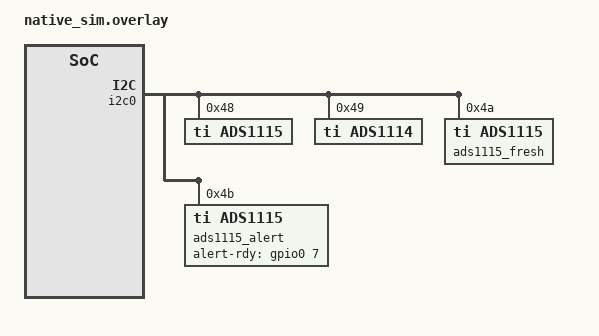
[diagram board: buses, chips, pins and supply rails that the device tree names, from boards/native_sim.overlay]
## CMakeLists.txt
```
# SPDX-FileCopyrightText: Copyright The Zephyr Project Contributors
# SPDX-License-Identifier: Apache-2.0

cmake_minimum_required(VERSION 3.28.0)

find_package(Zephyr REQUIRED HINTS $ENV{ZEPHYR_BASE})
project(adc_ads1x1x)

target_sources(app PRIVATE
  src/main.c
  src/ads1x1x_emul.c
)
```

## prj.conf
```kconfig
# SPDX-FileCopyrightText: Copyright The Zephyr Project Contributors
# SPDX-License-Identifier: Apache-2.0

CONFIG_ZTEST=y
CONFIG_EMUL=y
CONFIG_GPIO=y
CONFIG_ADC=y
CONFIG_ADC_LOG_LEVEL_WRN=y
CONFIG_I2C_LOG_LEVEL_WRN=y
```

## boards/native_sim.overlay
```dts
/*
 * SPDX-FileCopyrightText: Copyright The Zephyr Project Contributors
 * SPDX-License-Identifier: Apache-2.0
 */

/*
 * Simulated ADS1x1x chips on the emulated I2C bus of native_sim. The chip that is used
 * for the tests of an unconfigured channel is never configured by any other test.
 */
&i2c0 {
	ads1115: ads1115@48 {
		compatible = "ti,ads1115";
		reg = <0x48>;
		#io-channel-cells = <1>;
	};

	ads1114: ads1114@49 {
		compatible = "ti,ads1114";
		reg = <0x49>;
		#io-channel-cells = <1>;
	};

	ads1115_fresh: ads1115@4a {
		compatible = "ti,ads1115";
		reg = <0x4a>;
		#io-channel-cells = <1>;
	};

	/* A chip with its ALERT/RDY pin connected: it reports a finished conversion on that pin. */
	ads1115_alert: ads1115@4b {
		compatible = "ti,ads1115";
		reg = <0x4b>;
		alert-rdy-gpios = <&gpio0 7 0>;
		#io-channel-cells = <1>;
	};
};
```

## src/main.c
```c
/*
 * SPDX-FileCopyrightText: Copyright The Zephyr Project Contributors
 *
 * SPDX-License-Identifier: Apache-2.0
 */

/*
 * Tests of the ADS1x1x driver with a simulated chip: reading several channels in one sequence,
 * and that a driver with one channel still behaves as before.
 */

#include <errno.h>

#include <zephyr/devicetree.h>
#include <zephyr/drivers/adc.h>
#include <zephyr/drivers/emul.h>
#include <zephyr/drivers/i2c.h>
#include <zephyr/sys/byteorder.h>
#include <zephyr/ztest.h>

#include "ads1x1x_emul.h"

#define ADS1115_NODE       DT_NODELABEL(ads1115)
#define ADS1115_FRESH_NODE DT_NODELABEL(ads1115_fresh)
#define ADS1115_ALERT_NODE DT_NODELABEL(ads1115_alert)
#define ADS1114_NODE       DT_NODELABEL(ads1114)

/* The data rate setting 7 (860 readings per second) keeps the tests short. */
#define FAST ADC_ACQ_TIME(ADC_ACQ_TIME_TICKS, 7)
/* The setting 4 (128 readings per second) is the default. */
#define SLOW ADC_ACQ_TIME_DEFAULT

/* Registers of the chip. */
#define REG_CONVERSION 0
#define REG_CONFIG     1

/* Bits of the configuration register, to check what the driver wrote. */
#define CFG_OS           BIT(15)
#define CFG_MUX(c)       (((c) >> 12) & 0x7)
#define CFG_PGA(c)       (((c) >> 9) & 0x7)
#define CFG_DR(c)        (((c) >> 5) & 0x7)
#define MUX_DIFF_0_3     1
#define MUX_SINGLE(n)    (4 + (n))
#define PGA_2048         2
/* Start a single conversion of input 0 against GND at +-2.048 V full scale. */
#define START_INPUT_0    (CFG_OS | (MUX_SINGLE(0) << 12) | (PGA_2048 << 9) | BIT(8))
#define PGA_1024         3
#define SINGLE_ENDED_RES 15
#define DIFFERENTIAL_RES 16

static const struct device *const adc = DEVICE_DT_GET(ADS1115_NODE);
static const struct device *const adc_fresh = DEVICE_DT_GET(ADS1115_FRESH_NODE);
static const struct device *const adc_alert = DEVICE_DT_GET(ADS1115_ALERT_NODE);
static const struct device *const adc_1114 = DEVICE_DT_GET(ADS1114_NODE);
static const struct emul *const emul = EMUL_DT_GET(ADS1115_NODE);
static struct ads1x1x_emul_data *state;

static int16_t samples[16];

static void before(void *fixture)
{
	ARG_UNUSED(fixture);

	state = emul->data;
	ads1x1x_emul_reset(emul);
	memset(samples, 0, sizeof(samples));
}

ZTEST_SUITE(ads1x1x, NULL, NULL, before, NULL, NULL);

/* Make a channel read one input against GND. */
static int setup_single(const struct device *dev, uint8_t channel, uint8_t input,
			enum adc_gain gain, uint16_t acquisition_time)
{
	const struct adc_channel_cfg cfg = {
		.gain = gain,
		.reference = ADC_REF_INTERNAL,
		.acquisition_time = acquisition_time,
		.channel_id = channel,
		.differential = false,
		.input_positive = input,
	};

	return adc_channel_setup(dev, &cfg);
}

/* Make a channel read input_positive minus input_negative. */
static int setup_differential(const struct device *dev, uint8_t channel, uint8_t positive,
			      uint8_t negative, enum adc_gain gain)
{
	const struct adc_channel_cfg cfg = {
		.gain = gain,
		.reference = ADC_REF_INTERNAL,
		.acquisition_time = FAST,
		.channel_id = channel,
		.differential = true,
		.input_positive = positive,
		.input_negative = negative,
	};

	return adc_channel_setup(dev, &cfg);
}

/* Read the channels of a mask in one go. */
static int read_channels(const struct device *dev, uint32_t mask, uint8_t resolution, void *buffer,
			 size_t buffer_size, uint8_t extra_samplings)
{
	const struct adc_sequence_options options = {
		.extra_samplings = extra_samplings,
	};
	const struct adc_sequence sequence = {
		.options = extra_samplings ? &options : NULL,
		.channels = mask,
		.buffer = buffer,
		.buffer_size = buffer_size,
		.resolution = resolution,
	};

	return adc_read(dev, &sequence);
}

static void set_input(uint8_t input, int32_t microvolts)
{
	state->input_uv[input] = microvolts;
}

/* Talk to a chip without the driver. */
static uint16_t chip_read_from(uint16_t addr, uint8_t reg)
{
	uint8_t buf[2];

	zassert_ok(i2c_write_read(DEVICE_DT_GET(DT_BUS(ADS1115_NODE)), addr, &reg, sizeof(reg), buf,
				  sizeof(buf)));

	return sys_get_be16(buf);
}

static void chip_write_to(uint16_t addr, uint8_t reg, uint16_t value)
{
	uint8_t buf[3] = {reg};

	sys_put_be16(value, &buf[1]);
	zassert_ok(i2c_write(DEVICE_DT_GET(DT_BUS(ADS1115_NODE)), buf, sizeof(buf), addr));
}

static uint16_t chip_read(uint8_t reg)
{
	return chip_read_from(DT_REG_ADDR(ADS1115_NODE), reg);
}

static void chip_write(uint8_t reg, uint16_t value)
{
	chip_write_to(DT_REG_ADDR(ADS1115_NODE), reg, value);
}

ZTEST(ads1x1x, test_one_channel_reads_its_input)
{
	/* 1.65 V at +-2.048 V full scale: one count is 62.5 uV, so 26400 counts. */
	set_input(0, 1650000);

	zassert_ok(setup_single(adc, 0, 0, ADC_GAIN_1, FAST));
	zassert_ok(read_channels(adc, BIT(0), SINGLE_ENDED_RES, samples, sizeof(samples[0]), 0));

	zassert_equal(samples[0], 26400);
	zassert_equal(state->conversions, 1);
}

ZTEST(ads1x1x, test_channel_zero_can_read_any_input)
{
	set_input(2, 1000000);

	zassert_ok(setup_single(adc, 0, 2, ADC_GAIN_1, FAST));
	zassert_ok(read_channels(adc, BIT(0), SINGLE_ENDED_RES, samples, sizeof(samples[0]), 0));

	zassert_equal(samples[0], 16000);
}

ZTEST(ads1x1x, test_channel_zero_can_be_pointed_at_another_input_before_every_read)
{
	/*
	 * Before the driver had several channels, two inputs could be read like this: set up
	 * channel 0 for one input and read it, then set it up for the other input and read it.
	 */
	set_input(0, 1650000);
	set_input(1, 1600000);

	for (int i = 0; i < 3; i++) {
		zassert_ok(setup_single(adc, 0, 1, ADC_GAIN_1, SLOW));
		zassert_ok(read_channels(adc, BIT(0), SINGLE_ENDED_RES, samples, sizeof(samples[0]),
					 0));
		zassert_equal(samples[0], 25600);

		zassert_ok(setup_single(adc, 0, 0, ADC_GAIN_1, SLOW));
		zassert_ok(read_channels(adc, BIT(0), SINGLE_ENDED_RES, samples, sizeof(samples[0]),
					 0));
		zassert_equal(samples[0], 26400);
	}
}

ZTEST(ads1x1x, test_setting_up_a_channel_does_not_touch_the_chip)
{
	size_t transfers = state->transfers;

	zassert_ok(setup_single(adc, 0, 0, ADC_GAIN_1, FAST));
	zassert_ok(setup_single(adc, 1, 1, ADC_GAIN_2, SLOW));
	zassert_ok(setup_differential(adc, 2, 0, 3, ADC_GAIN_8));

	/* The settings are kept, and written when a conversion starts. */
	zassert_equal(state->transfers, transfers);
	zassert_equal(state->config_writes, 0);
}

static K_THREAD_STACK_DEFINE(reader_stack, 1024);
static struct k_thread reader_thread;
static volatile int reader_result;

static void reader_entry(void *p1, void *p2, void *p3)
{
	ARG_UNUSED(p1);
	ARG_UNUSED(p2);
	ARG_UNUSED(p3);

	reader_result =
		read_channels(adc, BIT(0), SINGLE_ENDED_RES, samples, sizeof(samples[0]), 0);
}

ZTEST(ads1x1x, test_setting_up_a_channel_waits_for_a_conversion_in_progress)
{
	int64_t waited;

	set_input(0, 1650000);

	/* At 128 readings per second a conversion takes about 8 ms. */
	zassert_ok(setup_single(adc, 0, 0, ADC_GAIN_1, SLOW));
	state->busy_polls = 1;
	reader_result = -1;

	k_thread_create(&reader_thread, reader_stack, K_THREAD_STACK_SIZEOF(reader_stack),
			reader_entry, NULL, NULL, NULL, K_PRIO_PREEMPT(5), 0, K_NO_WAIT);

	/* The reader has started its conversion, and the chip is still busy with it. */
	k_msleep(2);
	zassert_true(state->converting, "the conversion should still be running");

	waited = k_uptime_get();
	zassert_ok(setup_single(adc, 1, 1, ADC_GAIN_1, FAST));
	waited = k_uptime_get() - waited;

	/* Setting up another channel has to wait until the conversion is over. */
	zassert_false(state->converting, "the setup returned in the middle of the conversion");
	zassert_true(waited >= 3, "the setup did not wait (%lld ms)", (long long)waited);
	zassert_equal(state->writes_while_converting, 0);

	k_thread_join(&reader_thread, K_FOREVER);
	zassert_ok(reader_result);
	zassert_equal(samples[0], 26400);
}

ZTEST(ads1x1x, test_two_channels_are_read_in_one_sequence)
{
	set_input(0, 1650000);
	set_input(1, 1600000);

	zassert_ok(setup_single(adc, 0, 0, ADC_GAIN_1, FAST));
	zassert_ok(setup_single(adc, 1, 1, ADC_GAIN_1, FAST));
	state->config_writes = 0;

	zassert_ok(read_channels(adc, BIT(0) | BIT(1), SINGLE_ENDED_RES, samples,
				 2 * sizeof(samples[0]), 0));

	zassert_equal(samples[0], 26400);
	zassert_equal(samples[1], 25600);
	zassert_equal(state->conversions, 2);

	/* One conversion for each channel, each with its own input selected. */
	zassert_equal(state->config_writes, 2);
	zassert_true(state->config_log[0] & CFG_OS);
	zassert_equal(CFG_MUX(state->config_log[0]), MUX_SINGLE(0));
	zassert_true(state->config_log[1] & CFG_OS);
	zassert_equal(CFG_MUX(state->config_log[1]), MUX_SINGLE(1));
}

ZTEST(ads1x1x, test_samples_are_ordered_by_channel_number_not_by_input)
{
	set_input(0, 1000000);
	set_input(1, 2000000);

	/* Channel 0 reads input 1, and channel 1 reads input 0. */
	zassert_ok(setup_single(adc, 0, 1, ADC_GAIN_1, FAST));
	zassert_ok(setup_single(adc, 1, 0, ADC_GAIN_1, FAST));

	zassert_ok(read_channels(adc, BIT(0) | BIT(1), SINGLE_ENDED_RES, samples,
				 2 * sizeof(samples[0]), 0));

	zassert_equal(samples[0], 32000, "channel 0 comes first");
	zassert_equal(samples[1], 16000);
}

ZTEST(ads1x1x, test_a_sparse_mask_reads_only_the_selected_channels)
{
	for (uint8_t i = 0; i < 4; i++) {
		set_input(i, 500000 * (i + 1));
		zassert_ok(setup_single(adc, i, i, ADC_GAIN_1, FAST));
	}

	zassert_ok(read_channels(adc, BIT(1) | BIT(3), SINGLE_ENDED_RES, samples,
				 2 * sizeof(samples[0]), 0));

	zassert_equal(samples[0], 16000);
	zassert_equal(samples[1], 32000);
	zassert_equal(state->conversions, 2);
}

ZTEST(ads1x1x, test_every_channel_keeps_its_own_gain_and_speed)
{
	set_input(0, 500000);
	set_input(1, 500000);

	zassert_ok(setup_single(adc, 0, 0, ADC_GAIN_1, FAST));
	zassert_ok(setup_single(adc, 1, 1, ADC_GAIN_2, SLOW));
	state->config_writes = 0;

	zassert_ok(read_channels(adc, BIT(0) | BIT(1), SINGLE_ENDED_RES, samples,
				 2 * sizeof(samples[0]), 0));

	/* The same 0.5 V is twice as many counts at half the range. */
	zassert_equal(samples[0], 8000);
	zassert_equal(samples[1], 16000);

	zassert_equal(CFG_PGA(state->config_log[0]), PGA_2048);
	zassert_equal(CFG_DR(state->config_log[0]), 7);
	zassert_equal(CFG_PGA(state->config_log[1]), PGA_1024);
	zassert_equal(CFG_DR(state->config_log[1]), 4);
}

ZTEST(ads1x1x, test_extra_samplings_repeat_all_the_channels)
{
	set_input(0, 1000000);
	set_input(1, 2000000);

	zassert_ok(setup_single(adc, 0, 0, ADC_GAIN_1, FAST));
	zassert_ok(setup_single(adc, 1, 1, ADC_GAIN_1, FAST));

	zassert_ok(read_channels(adc, BIT(0) | BIT(1), SINGLE_ENDED_RES, samples,
				 4 * sizeof(samples[0]), 1));

	zassert_equal(samples[0], 16000);
	zassert_equal(samples[1], 32000);
	zassert_equal(samples[2], 16000);
	zassert_equal(samples[3], 32000);
	zassert_equal(state->conversions, 4);
}

ZTEST(ads1x1x, test_waits_while_the_chip_is_converting)
{
	set_input(0, 1650000);
	set_input(1, 1600000);
	state->busy_polls = 3;

	zassert_ok(setup_single(adc, 0, 0, ADC_GAIN_1, FAST));
	zassert_ok(setup_single(adc, 1, 1, ADC_GAIN_1, FAST));
	zassert_ok(read_channels(adc, BIT(0) | BIT(1), SINGLE_ENDED_RES, samples,
				 2 * sizeof(samples[0]), 0));

	zassert_equal(samples[0], 26400);
	zassert_equal(samples[1], 25600);
}

ZTEST(ads1x1x, test_two_reads_in_a_row_both_work)
{
	set_input(0, 1650000);
	set_input(1, 1600000);

	zassert_ok(setup_single(adc, 0, 0, ADC_GAIN_1, FAST));
	zassert_ok(setup_single(adc, 1, 1, ADC_GAIN_1, FAST));

	for (int i = 0; i < 3; i++) {
		memset(samples, 0, sizeof(samples));
		zassert_ok(read_channels(adc, BIT(0) | BIT(1), SINGLE_ENDED_RES, samples,
					 2 * sizeof(samples[0]), 0));
		zassert_equal(samples[0], 26400);
		zassert_equal(samples[1], 25600);
	}
}

ZTEST(ads1x1x, test_a_differential_channel_can_be_read_alone)
{
	set_input(0, 1650000);
	set_input(3, 1640000);

	zassert_ok(setup_differential(adc, 0, 0, 3, ADC_GAIN_8));
	zassert_ok(read_channels(adc, BIT(0), DIFFERENTIAL_RES, samples, sizeof(samples[0]), 0));

	/* 10 mV at +-0.256 V full scale: 7.8125 uV per count. */
	zassert_equal(samples[0], 1280);
	zassert_equal(CFG_MUX(state->config_log[state->config_writes - 1]), MUX_DIFF_0_3);
}

ZTEST(ads1x1x, test_single_ended_and_differential_channels_cannot_share_a_sequence)
{
	zassert_ok(setup_single(adc, 0, 0, ADC_GAIN_1, FAST));
	zassert_ok(setup_differential(adc, 1, 0, 3, ADC_GAIN_8));

	/* They need a different resolution, so one sequence cannot have both. */
	zassert_not_ok(read_channels(adc, BIT(0) | BIT(1), SINGLE_ENDED_RES, samples,
				     2 * sizeof(samples[0]), 0));
	zassert_not_ok(read_channels(adc, BIT(0) | BIT(1), DIFFERENTIAL_RES, samples,
				     2 * sizeof(samples[0]), 0));

	/* Each one still works alone. */
	zassert_ok(read_channels(adc, BIT(0), SINGLE_ENDED_RES, samples, sizeof(samples[0]), 0));
	zassert_ok(read_channels(adc, BIT(1), DIFFERENTIAL_RES, samples, sizeof(samples[0]), 0));
}

ZTEST(ads1x1x, test_a_channel_that_was_not_set_up_is_refused)
{
	/* This chip is not used by any other test, so no channel is set up. */
	zassert_ok(setup_single(adc_fresh, 0, 0, ADC_GAIN_1, FAST));

	zassert_equal(read_channels(adc_fresh, BIT(0) | BIT(2), SINGLE_ENDED_RES, samples,
				    2 * sizeof(samples[0]), 0),
		      -EINVAL);
	zassert_equal(
		read_channels(adc_fresh, BIT(1), SINGLE_ENDED_RES, samples, sizeof(samples[0]), 0),
		-EINVAL);
}

ZTEST(ads1x1x, test_an_empty_or_out_of_range_mask_is_refused)
{
	zassert_ok(setup_single(adc, 0, 0, ADC_GAIN_1, FAST));

	zassert_not_ok(read_channels(adc, 0, SINGLE_ENDED_RES, samples, sizeof(samples[0]), 0));
	zassert_not_ok(
		read_channels(adc, BIT(4), SINGLE_ENDED_RES, samples, sizeof(samples[0]), 0));
	zassert_not_ok(read_channels(adc, BIT(0) | BIT(7), SINGLE_ENDED_RES, samples,
				     2 * sizeof(samples[0]), 0));
}

ZTEST(ads1x1x, test_the_buffer_must_hold_every_sample)
{
	zassert_ok(setup_single(adc, 0, 0, ADC_GAIN_1, FAST));
	zassert_ok(setup_single(adc, 1, 1, ADC_GAIN_1, FAST));

	zassert_not_ok(read_channels(adc, BIT(0) | BIT(1), SINGLE_ENDED_RES, samples,
				     sizeof(samples[0]), 0));
	/* Extra samplings multiply the need. */
	zassert_not_ok(read_channels(adc, BIT(0) | BIT(1), SINGLE_ENDED_RES, samples,
				     2 * sizeof(samples[0]), 1));
	zassert_ok(read_channels(adc, BIT(0) | BIT(1), SINGLE_ENDED_RES, samples,
				 4 * sizeof(samples[0]), 1));
}

ZTEST(ads1x1x, test_channel_numbers_beyond_the_chip_are_refused)
{
	zassert_not_ok(setup_single(adc, 4, 0, ADC_GAIN_1, FAST));
	zassert_not_ok(setup_single(adc, 7, 0, ADC_GAIN_1, FAST));
}

ZTEST(ads1x1x, test_a_chip_without_a_multiplexer_has_only_channel_zero)
{
	zassert_not_ok(setup_single(adc_1114, 1, 0, ADC_GAIN_1, FAST));
	zassert_ok(setup_single(adc_1114, 0, 0, ADC_GAIN_1, FAST));
}

ZTEST(ads1x1x, test_several_channels_are_refused_when_the_alert_pin_is_used)
{
	/* The pin reports one conversion at a time, so a sequence can only have one channel. */
	zassert_ok(setup_single(adc_alert, 0, 0, ADC_GAIN_1, FAST));
	zassert_ok(setup_single(adc_alert, 1, 1, ADC_GAIN_1, FAST));

	zassert_equal(read_channels(adc_alert, BIT(0) | BIT(1), SINGLE_ENDED_RES, samples,
				    2 * sizeof(samples[0]), 0),
		      -ENOTSUP);
}

ZTEST(ads1x1x, test_oversampling_is_still_refused)
{
	const struct adc_sequence sequence = {
		.channels = BIT(0),
		.buffer = samples,
		.buffer_size = sizeof(samples[0]),
		.resolution = SINGLE_ENDED_RES,
		.oversampling = 2,
	};

	zassert_ok(setup_single(adc, 0, 0, ADC_GAIN_1, FAST));
	zassert_not_ok(adc_read(adc, &sequence));
}

ZTEST(ads1x1x, test_an_i2c_failure_is_reported_and_the_driver_recovers)
{
	size_t transfers;

	set_input(0, 1650000);
	set_input(1, 1600000);

	zassert_ok(setup_single(adc, 0, 0, ADC_GAIN_1, FAST));
	zassert_ok(setup_single(adc, 1, 1, ADC_GAIN_1, FAST));

	/* How many I2C transfers does a clean two channel read need? */
	state->transfers = 0;
	zassert_ok(read_channels(adc, BIT(0) | BIT(1), SINGLE_ENDED_RES, samples,
				 2 * sizeof(samples[0]), 0));
	transfers = state->transfers;
	zassert_true(transfers >= 2, "a read needs at least one transfer per channel");

	/* Fail at every one of them, one at a time. */
	for (size_t step = 1; step <= transfers; step++) {
		int ret;

		state->fail_in = step;
		state->fail_error = -EIO;
		ret = read_channels(adc, BIT(0) | BIT(1), SINGLE_ENDED_RES, samples,
				    2 * sizeof(samples[0]), 0);

		zassert_equal(ret, -EIO, "step %zu returned %d", step, ret);

		/* The next read works, with nothing left over from the failure. */
		state->fail_in = 0;
		memset(samples, 0, sizeof(samples));
		zassert_ok(read_channels(adc, BIT(0) | BIT(1), SINGLE_ENDED_RES, samples,
					 2 * sizeof(samples[0]), 0),
			   "no recovery after step %zu", step);
		zassert_equal(samples[0], 26400, "step %zu", step);
		zassert_equal(samples[1], 25600, "step %zu", step);
	}
}

ZTEST(ads1x1x, test_chip_keeps_the_last_result_until_the_conversion_is_done)
{
	/* 1 V at +-2.048 V full scale is 16000 counts, and 2 V is 32000. */
	state->busy_polls = 1;
	set_input(0, 1000000);
	chip_write(REG_CONFIG, START_INPUT_0);

	zassert_false(chip_read(REG_CONFIG) & CFG_OS, "the chip should be converting");
	zassert_true(chip_read(REG_CONFIG) & CFG_OS, "the chip should be done");
	zassert_equal((int16_t)chip_read(REG_CONVERSION), 16000);

	set_input(0, 2000000);
	chip_write(REG_CONFIG, START_INPUT_0);

	/* The second conversion is running, so the register still holds the first result. */
	zassert_equal((int16_t)chip_read(REG_CONVERSION), 16000);

	zassert_false(chip_read(REG_CONFIG) & CFG_OS, "the chip should be converting");
	zassert_true(chip_read(REG_CONFIG) & CFG_OS, "the chip should be done");
	zassert_equal((int16_t)chip_read(REG_CONVERSION), 32000);
}

ZTEST(ads1x1x, test_chip_ignores_a_start_while_it_is_converting)
{
	state->busy_polls = 2;
	set_input(0, 1000000);
	chip_write(REG_CONFIG, START_INPUT_0);

	/* The input changes and a new start comes, but the chip is still busy with the first one.
	 */
	set_input(0, 500000);
	chip_write(REG_CONFIG, START_INPUT_0);

	zassert_equal(state->conversions, 1);
	zassert_equal(state->ignored_starts, 1);

	for (int i = 0; i < 5 && !(chip_read(REG_CONFIG) & CFG_OS); i++) {
	}

	/* The result is the one of the first conversion. */
	zassert_equal((int16_t)chip_read(REG_CONVERSION), 16000);

	/* When the chip is done, it accepts the next start. */
	chip_write(REG_CONFIG, START_INPUT_0);
	zassert_equal(state->conversions, 2);
}

ZTEST(ads1x1x, test_an_ads1114_ignores_the_multiplexer_bits)
{
	const struct emul *emul_1114 = EMUL_DT_GET(ADS1114_NODE);
	struct ads1x1x_emul_data *state_1114 = emul_1114->data;
	const uint16_t addr = DT_REG_ADDR(ADS1114_NODE);

	ads1x1x_emul_reset(emul_1114);

	/* AIN0 is 1 V and AIN1 is 0.25 V. At +-2.048 V one count is 62.5 uV. */
	state_1114->input_uv[0] = 1000000;
	state_1114->input_uv[1] = 250000;

	/* The bits ask for AIN0 against GND, but the chip has no multiplexer: it reads AIN0 - AIN1.
	 */
	chip_write_to(addr, REG_CONFIG, START_INPUT_0);
	zassert_true(chip_read_from(addr, REG_CONFIG) & CFG_OS, "the conversion should be done");
	zassert_equal((int16_t)chip_read_from(addr, REG_CONVERSION), 12000);

	/* The ADS1115 does what the bits say. */
	set_input(0, 1000000);
	set_input(1, 250000);
	chip_write(REG_CONFIG, START_INPUT_0);
	zassert_true(chip_read(REG_CONFIG) & CFG_OS, "the conversion should be done");
	zassert_equal((int16_t)chip_read(REG_CONVERSION), 16000);
}

ZTEST(ads1x1x, test_an_i2c_failure_during_a_conversion_does_not_leak_into_the_next_read)
{
	size_t transfers;

	set_input(0, 1650000);
	set_input(1, 1600000);

	zassert_ok(setup_single(adc, 0, 0, ADC_GAIN_1, FAST));
	zassert_ok(setup_single(adc, 1, 1, ADC_GAIN_1, FAST));

	/* The chip is still converting when it is asked for the first time. */
	state->busy_polls = 3;
	state->transfers = 0;
	zassert_ok(read_channels(adc, BIT(0) | BIT(1), SINGLE_ENDED_RES, samples,
				 2 * sizeof(samples[0]), 0));
	transfers = state->transfers;

	/* Fail at every transfer of a two channel read, then read channel 0 at once. */
	for (size_t step = 1; step <= transfers; step++) {
		int ret;

		state->fail_in = step;
		state->fail_error = -EIO;
		ret = read_channels(adc, BIT(0) | BIT(1), SINGLE_ENDED_RES, samples,
				    2 * sizeof(samples[0]), 0);

		zassert_equal(ret, -EIO, "step %zu returned %d", step, ret);

		/* The chip ignores a start while it converts. The result of the conversion that was
		 * left behind must not be taken for the one of channel 0.
		 */
		state->fail_in = 0;
		samples[0] = 0;
		zassert_ok(read_channels(adc, BIT(0), SINGLE_ENDED_RES, samples, sizeof(samples[0]),
					 0),
			   "no recovery after step %zu", step);
		zassert_equal(samples[0], 26400, "step %zu", step);
	}
}
```

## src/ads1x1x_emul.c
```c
/*
 * SPDX-FileCopyrightText: Copyright The Zephyr Project Contributors
 *
 * SPDX-License-Identifier: Apache-2.0
 */

/*
 * A small simulation of the ADS1115 for the tests: the configuration and conversion registers,
 * the input multiplexer, the gain, the "conversion is running" flag and I2C failures.
 */

#include <errno.h>
#include <string.h>

#include <zephyr/device.h>
#include <zephyr/drivers/emul.h>
#include <zephyr/drivers/i2c.h>
#include <zephyr/drivers/i2c_emul.h>
#include <zephyr/sys/byteorder.h>
#include <zephyr/sys/util.h>

#include "ads1x1x_emul.h"

#define REG_CONVERSION 0
#define REG_CONFIG     1

#define CFG_OS         BIT(15)
#define CFG_MUX_SHIFT  12
#define CFG_MUX_MASK   0x7
#define CFG_PGA_SHIFT  9
#define CFG_PGA_MASK   0x7
#define CFG_POWER_UP   0x8583
#define THRESHOLD_LOW  0x8000
#define THRESHOLD_HIGH 0x7fff

/* Full scale of every PGA setting, in microvolts. 6 and 7 behave like 5. */
static const int32_t full_scale_uv[8] = {6144000, 4096000, 2048000, 1024000,
					 512000,  256000,  256000,  256000};

/* The inputs of the differential multiplexer settings 0 to 3: positive and negative. */
static const uint8_t differential_inputs[4][2] = {{0, 1}, {0, 3}, {1, 3}, {2, 3}};

void ads1x1x_emul_reset(const struct emul *target)
{
	struct ads1x1x_emul_data *data = target->data;

	memset(data, 0, sizeof(*data));
	data->reg[REG_CONFIG] = CFG_POWER_UP;
	data->reg[2] = THRESHOLD_LOW;
	data->reg[3] = THRESHOLD_HIGH;
}

/* What the converter would return for the multiplexer and gain in a configuration value. */
static int16_t convert(const struct ads1x1x_emul_data *data, bool has_mux, uint16_t config)
{
	/* The ADS1113 and ADS1114 ignore the MUX bits and always convert AIN0 minus AIN1. */
	uint8_t mux = has_mux ? (config >> CFG_MUX_SHIFT) & CFG_MUX_MASK : 0;
	int32_t full_scale = full_scale_uv[(config >> CFG_PGA_SHIFT) & CFG_PGA_MASK];
	int64_t microvolts;
	int64_t code;

	if (mux < ARRAY_SIZE(differential_inputs)) {
		microvolts = data->input_uv[differential_inputs[mux][0]] -
			     data->input_uv[differential_inputs[mux][1]];
	} else {
		microvolts = data->input_uv[mux - ARRAY_SIZE(differential_inputs)];
	}

	/* One count is full scale / 32768. */
	code = (microvolts * 32768) / full_scale;

	return CLAMP(code, INT16_MIN, INT16_MAX);
}

/*
 * The chip finishes a conversion by itself, after the polls that it was told to stay busy for.
 * Only then does the result reach the conversion register, which keeps the last result until then.
 */
static void settle(struct ads1x1x_emul_data *data)
{
	if (data->converting && data->busy_left == 0) {
		data->reg[REG_CONVERSION] = data->pending;
		data->converting = false;
	}
}

static void write_register(struct ads1x1x_emul_data *data, bool has_mux, uint8_t reg,
			   uint16_t value)
{
	settle(data);

	if (reg != REG_CONFIG) {
		data->reg[reg] = value;
		return;
	}

	if (data->config_writes < ARRAY_SIZE(data->config_log)) {
		data->config_log[data->config_writes] = value;
	}
	data->config_writes++;

	/* The tests check that the driver leaves the configuration alone while a conversion runs.
	 */
	if (data->converting) {
		data->writes_while_converting++;
	}

	/* OS reads 0 while a conversion runs and 1 when it is done, so the written bit is not kept.
	 */
	data->reg[REG_CONFIG] = value & ~CFG_OS;

	if (!(value & CFG_OS)) {
		return;
	}

	/* Writing a 1 to the OS bit starts a single conversion. The chip ignores it while it runs.
	 */
	if (data->converting) {
		data->ignored_starts++;
		return;
	}

	data->pending = convert(data, has_mux, value);
	data->busy_left = data->busy_polls;
	data->converting = true;
	data->conversions++;
}

static uint16_t read_register(struct ads1x1x_emul_data *data, uint8_t reg)
{
	if (reg != REG_CONFIG) {
		settle(data);

		return data->reg[reg];
	}

	if (data->busy_left > 0) {
		data->busy_left--;
		return data->reg[REG_CONFIG];
	}

	/* The chip reports that the conversion is done. */
	settle(data);

	return data->reg[REG_CONFIG] | CFG_OS;
}

static int ads1x1x_emul_transfer(const struct emul *target, struct i2c_msg *msgs, int num_msgs,
				 int addr)
{
	struct ads1x1x_emul_data *data = target->data;
	const struct ads1x1x_emul_config *cfg = target->cfg;

	ARG_UNUSED(addr);

	data->transfers++;

	if (data->fail_in > 0 && --data->fail_in == 0) {
		return data->fail_error;
	}

	if (num_msgs == 1 && !(msgs[0].flags & I2C_MSG_READ) && msgs[0].len == 3 &&
	    msgs[0].buf[0] < ARRAY_SIZE(data->reg)) {
		/* Register write: register, high byte, low byte. */
		write_register(data, cfg->has_mux, msgs[0].buf[0], sys_get_be16(&msgs[0].buf[1]));
		return 0;
	}

	if (num_msgs == 2 && !(msgs[0].flags & I2C_MSG_READ) && msgs[0].len == 1 &&
	    (msgs[1].flags & I2C_MSG_READ) && msgs[1].len == 2 &&
	    msgs[0].buf[0] < ARRAY_SIZE(data->reg)) {
		/* Register read: write the register number, then read two bytes. */
		sys_put_be16(read_register(data, msgs[0].buf[0]), msgs[1].buf);
		return 0;
	}

	return -EIO;
}

static int ads1x1x_emul_init(const struct emul *target, const struct device *parent)
{
	ARG_UNUSED(parent);

	ads1x1x_emul_reset(target);

	return 0;
}

static const struct i2c_emul_api ads1x1x_emul_api_i2c = {
	.transfer = ads1x1x_emul_transfer,
};

#define ADS1X1X_EMUL(t, n, mux)                                                                    \
	static struct ads1x1x_emul_data ads##t##_emul_data_##n;                                    \
	static const struct ads1x1x_emul_config ads##t##_emul_config_##n = {.has_mux = mux};       \
	EMUL_DT_INST_DEFINE(n, ads1x1x_emul_init, &ads##t##_emul_data_##n,                         \
			    &ads##t##_emul_config_##n, &ads1x1x_emul_api_i2c, NULL)

#define ADS1115_EMUL(n) ADS1X1X_EMUL(1115, n, true)
#undef DT_DRV_COMPAT
#define DT_DRV_COMPAT ti_ads1115
DT_INST_FOREACH_STATUS_OKAY(ADS1115_EMUL)

#define ADS1114_EMUL(n) ADS1X1X_EMUL(1114, n, false)
#undef DT_DRV_COMPAT
#define DT_DRV_COMPAT ti_ads1114
DT_INST_FOREACH_STATUS_OKAY(ADS1114_EMUL)
```

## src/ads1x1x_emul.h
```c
/*
 * SPDX-FileCopyrightText: Copyright The Zephyr Project Contributors
 *
 * SPDX-License-Identifier: Apache-2.0
 */

#ifndef TESTS_ADS1X1X_EMUL_H_
#define TESTS_ADS1X1X_EMUL_H_

#include <stdbool.h>
#include <stddef.h>
#include <stdint.h>

#include <zephyr/drivers/emul.h>

/** Inputs of the chip. */
#define ADS_EMUL_INPUTS 4

/** How many writes of the configuration register are remembered. */
#define ADS_EMUL_LOG_SIZE 32

/** What differs between the simulated chips. */
struct ads1x1x_emul_config {
	/** The chip has an input multiplexer. Without one it always converts AIN0 minus AIN1. */
	bool has_mux;
};

/** State of a simulated ADS1x1x chip. */
struct ads1x1x_emul_data {
	/** Registers: conversion, configuration, low threshold, high threshold. */
	uint16_t reg[4];
	/** Voltage on every input, relative to GND, in microvolts. */
	int32_t input_uv[ADS_EMUL_INPUTS];
	/** The chip says "still converting" this many times after a conversion was started. */
	uint8_t busy_polls;
	uint8_t busy_left;
	/** Fail the n-th next transfer (1 is the next one) with fail_error. 0 is off. */
	int fail_in;
	int fail_error;
	/** Every value written to the configuration register, oldest first. */
	uint16_t config_log[ADS_EMUL_LOG_SIZE];
	size_t config_writes;
	/** Conversions that were started. */
	size_t conversions;
	/** I2C transfers the chip has seen. */
	size_t transfers;
	/** A conversion was started and the chip has not yet said that it is done. */
	bool converting;
	/** Result of the running conversion. It reaches the conversion register when it is done. */
	int16_t pending;
	/** Starts that were ignored, because they came while a conversion was running. */
	size_t ignored_starts;
	/** Writes of the configuration register that came while a conversion was running. */
	size_t writes_while_converting;
};

/** Put the chip in its power-up state, and forget the log and the failures. */
void ads1x1x_emul_reset(const struct emul *target);

#endif /* TESTS_ADS1X1X_EMUL_H_ */
```
